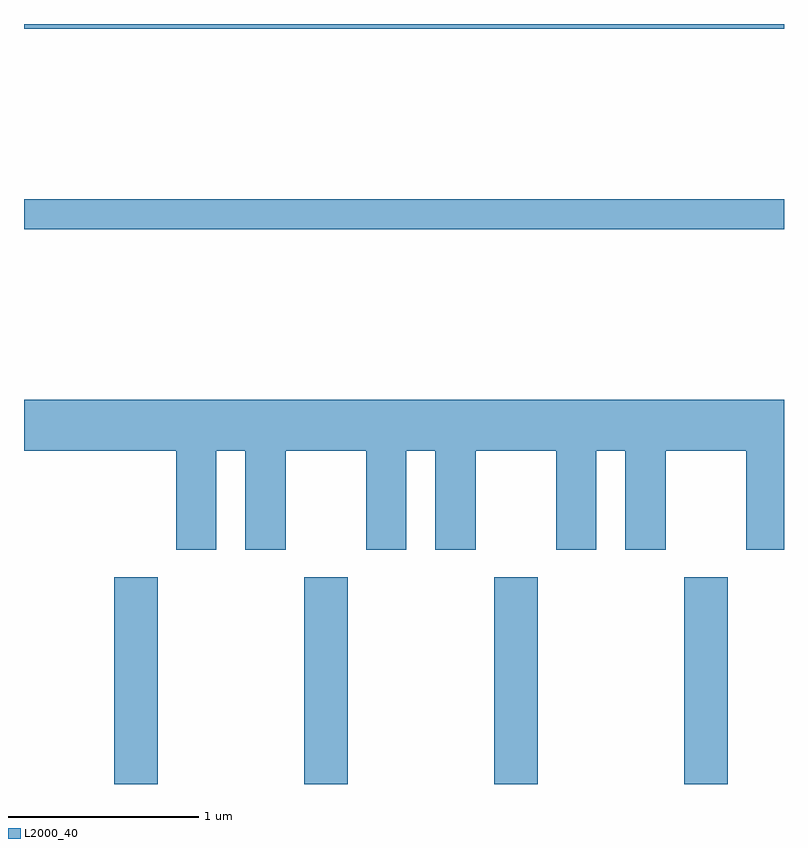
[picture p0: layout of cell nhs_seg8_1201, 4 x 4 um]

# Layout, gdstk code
import gdstk
lib = gdstk.Library(unit=1e-6, precision=1e-09)
def R(c, l, rs):  # rectangles x0, y0, x1, y1
    for r in rs: c.add(gdstk.rectangle(r[:2], r[2:], *l))
def A(c, l, x, y, w, h, nx, ny, dx, dy):  # array of equal rectangles
    R(c, l, [(x+i*dx, y+j*dy, x+i*dx+w, y+j*dy+h) for i in range(nx) for j in range(ny)])
def P(c, l, *ps):  # polygons
    for p in ps: c.add(gdstk.Polygon(p, *l))
L2000_40 = (2000, 40)

nhs_seg8_1201 = lib.new_cell('nhs_seg8_1201')
A(nhs_seg8_1201, L2000_40, 220.086, 1932.342, 0.228, 1.087, 4, 1, 1, 0)
R(nhs_seg8_1201, L2000_40, [(219.611,1935.261,223.611,1935.419), (219.611,1936.316,223.611,1936.342)])
P(nhs_seg8_1201, L2000_40, [(220.624,1934.096),(220.776,1934.096),(220.776,1933.576),(220.989,1933.576),(220.989,1934.096),(221.411,1934.096),(221.411,1933.576),(221.624,1933.576),(221.624,1934.096),(221.776,1934.096),(221.776,1933.576),(221.989,1933.576),(221.989,1934.096),(222.411,1934.096),(222.411,1933.576),(222.624,1933.576),(222.624,1934.096),(222.776,1934.096),(222.776,1933.576),(222.989,1933.576),(222.989,1934.096),(223.411,1934.096),(223.411,1933.576),(223.611,1933.576),(223.611,1934.364),(219.611,1934.364),(219.611,1934.096),(220.411,1934.096),(220.411,1933.576),(220.624,1933.576)])

lib.write_gds('nhs_seg8_1201.gds')
